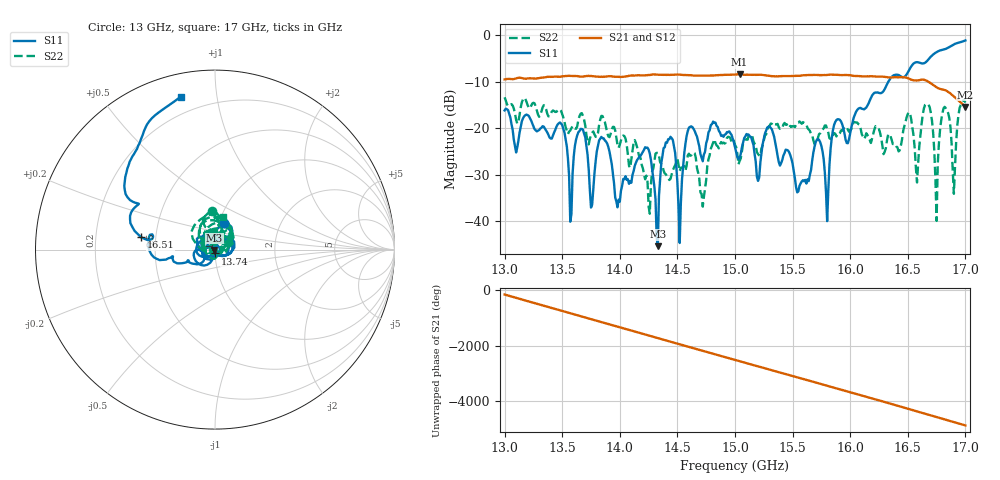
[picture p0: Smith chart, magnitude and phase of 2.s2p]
!Keysight Technologies,P9374A,MY57211807,A.19.30.04
!Date: Friday, May 01, 2026 14:47:11
!Correction: S11(C  2-Port  )
!S21(C  2-Port  )
!S12(C  2-Port  )
!S22(C  2-Port  )
!S2P File: Measurements: S11, S21, S12, S22:
# Hz S  RI  R 50
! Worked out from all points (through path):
!   401 points, 13 GHz to 17 GHz, reference 50 ohm
!   highest |S21| = -8.43 dB at 15.04 GHz (marker M1); lowest = -15.5 dB at 17 GHz (marker M2)
!   lowest |S11| = -45.3 dB at 14.33 GHz (marker M3), VSWR 1.01, Z = 49.5 - j0.254 ohm
!   |S11| at or under -10 dB: start of sweep to 16.33 GHz
!   |S22| runs from -39.9 to -13.4 dB; largest |S21 - S12| = 0.0097
!   S11 on the Smith chart (normalised r, x): 13 GHz: 1.05, +0.32; 13.74 GHz: 1.00, -0.04; 16.51 GHz: 0.41, +0.07; 17 GHz: 0.11, +0.80
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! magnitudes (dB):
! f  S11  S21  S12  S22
! 13 GHz  -16.2  -9.5  -9.5  -13.4
! 13.49 GHz  -19.0  -8.9  -8.9  -16.3
! 13.57 GHz  -40.1  -8.8  -8.8  -20.5
! 13.67 GHz  -20.2  -8.9  -8.9  -16.8
! 13.74 GHz  -33.3  -8.8  -8.8  -22.3
! 14.23 GHz  -24.2  -8.6  -8.6  -30.2
! 14.33 GHz  -45.3  -8.5  -8.5  -25.3
! 14.34 GHz  -34.5  -8.6  -8.5  -25.9
! 14.42 GHz  -22.4  -8.6  -8.5  -30.7
! 14.52 GHz  -44.7  -8.5  -8.5  -29.2
! 14.61 GHz  -19.7  -8.6  -8.6  -25.9
! 15 GHz  -24.1  -8.5  -8.5  -23.6
! 15.04 GHz  -26.4  -8.4  -8.4  -27.1
! 15.67 GHz  -27.0  -8.6  -8.6  -21.5
! 16.34 GHz  -9.7  -9.1  -9.1  -21.3
! 16.51 GHz  -7.6  -9.4  -9.4  -16.6
! 16.58 GHz  -5.8  -9.8  -9.8  -31.7
! 16.68 GHz  -5.2  -10.0  -10.0  -15.0
! 16.75 GHz  -3.7  -11.2  -11.2  -39.9
! 16.81 GHz  -3.1  -11.7  -11.7  -15.8
! 16.9 GHz  -2.0  -13.2  -13.2  -34.1
! 17 GHz  -1.2  -15.5  -15.4  -14.5
